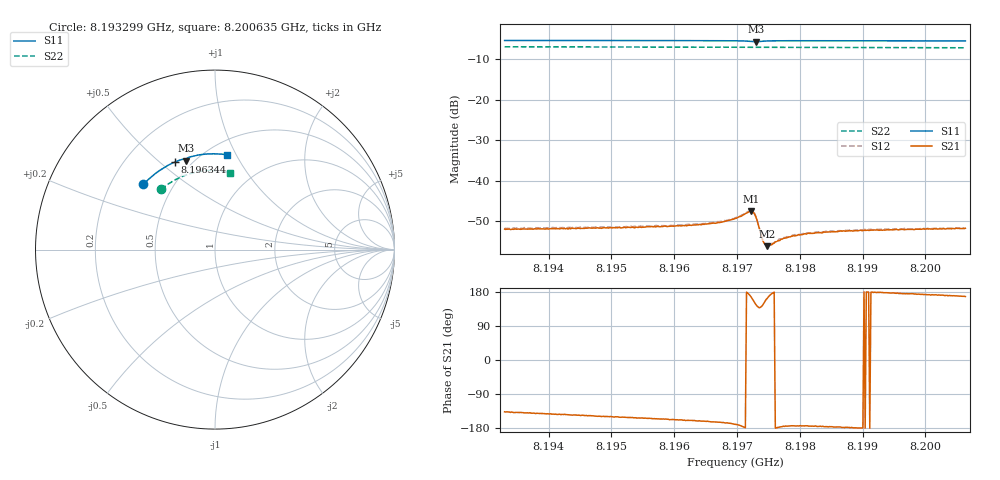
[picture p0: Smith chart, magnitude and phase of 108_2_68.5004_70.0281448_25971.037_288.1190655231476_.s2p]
#  HZ  S  RI  R  50.00
! Rohde & Schwarz Vector Network Analyzer
! Rohde-Schwarz,ZNB20-2Port,1311601062101988,3.16
! Created: UTC 3/20/2024, 4:53:21 PM
! freq[Hz]  re:S11  im:S11  re:S21  im:S21  re:S12  im:S12  re:S22  im:S22
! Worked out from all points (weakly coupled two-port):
!   401 points, 8.193299 GHz to 8.200635 GHz, reference 50 ohm
!   highest |S21| = -47.55 dB at 8.197224 GHz (marker M1); lowest = -56.1 dB at 8.197481 GHz (marker M2)
!   lowest |S11| = -5.7 dB at 8.197297 GHz (marker M3), VSWR 3.17, Z = 22.9 + j31.1 ohm
!   |S11| at or under -10 dB: nowhere
!   |S22| runs from -7.2 to -6.9 dB; largest |S21 - S12| = 0.00022
!   S11 on the Smith chart (normalised r, x): 8.193299 GHz: 0.34, +0.35; 8.196344 GHz: 0.41, +0.56; 8.200635 GHz: 0.63, +0.92
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8.1932995e9  -0.3988 0.363  -0.00184 -0.00174  -0.00196 -0.00175  -0.3 0.3357
8.1945282e9  -0.3349 0.4216  -0.00214 -0.00145  -0.00224 -0.00141  -0.2446 0.3758
8.1957569e9  -0.2621 0.4692  -0.00247 -0.00114  -0.00255 -0.00108  -0.1836 0.4071
8.1963438e9  -0.2243 0.4877  -0.00268 -0.000953  -0.0028 -0.000864  -0.1526 0.4188
8.1966922e9  -0.2006 0.497  -0.00293 -0.000839  -0.00305 -0.00074  -0.1341 0.4245
8.1969673e9  -0.18 0.5033  -0.00337 -0.000608  -0.00345 -0.000534  -0.1191 0.4284
8.197169e9  -0.1622 0.5029  -0.00405 0.00023  -0.00414 0.000421  -0.108 0.4308
8.197224e9  -0.1582 0.4995  -0.00407 0.000984  -0.0041 0.0012  -0.105 0.4313
8.1972607e9  -0.1577 0.4966  -0.00374 0.00161  -0.00369 0.00177  -0.103 0.4316
8.1972974e9  -0.1595 0.495  -0.00302 0.00198  -0.00299 0.00213  -0.1012 0.4319
8.1973157e9  -0.1607 0.4952  -0.00264 0.00199  -0.00254 0.00214  -0.1002 0.4323
8.1974074e9  -0.1617 0.5026  -0.0015 0.00107  -0.00151 0.00113  -0.0951 0.4335
8.1974441e9  -0.1596 0.5056  -0.00148 0.000711  -0.00148 0.000765  -0.0933 0.4339
8.1974808e9  -0.157 0.5082  -0.00149 0.000466  -0.00155 0.000543  -0.0913 0.4343
8.1975358e9  -0.1525 0.5108  -0.0016 0.000202  -0.00162 0.000269  -0.0882 0.4348
8.1977008e9  -0.14 0.5162  -0.0019 -0.000127  -0.00191 -9.36e-05  -0.079 0.4364
8.1977742e9  -0.1345 0.5178  -0.00196 -0.000204  -0.00201 -8.9e-05  -0.0747 0.437
8.1979209e9  -0.1236 0.5206  -0.00208 -0.000223  -0.00217 -0.000152  -0.0667 0.438
8.198196e9  -0.1037 0.5249  -0.00223 -0.000219  -0.0023 -0.000114  -0.0511 0.4397
8.1986728e9  -0.0699 0.5302  -0.00239 -7.5e-05  -0.00241 2.77e-06  -0.0241 0.441
8.1994247e9  -0.0165 0.5337  -0.00248 0.000134  -0.00251 0.000258  0.0183 0.4399
8.2006351e9  0.0689 0.528  -0.00253 0.000564  -0.00251 0.000677  0.0862 0.4295
